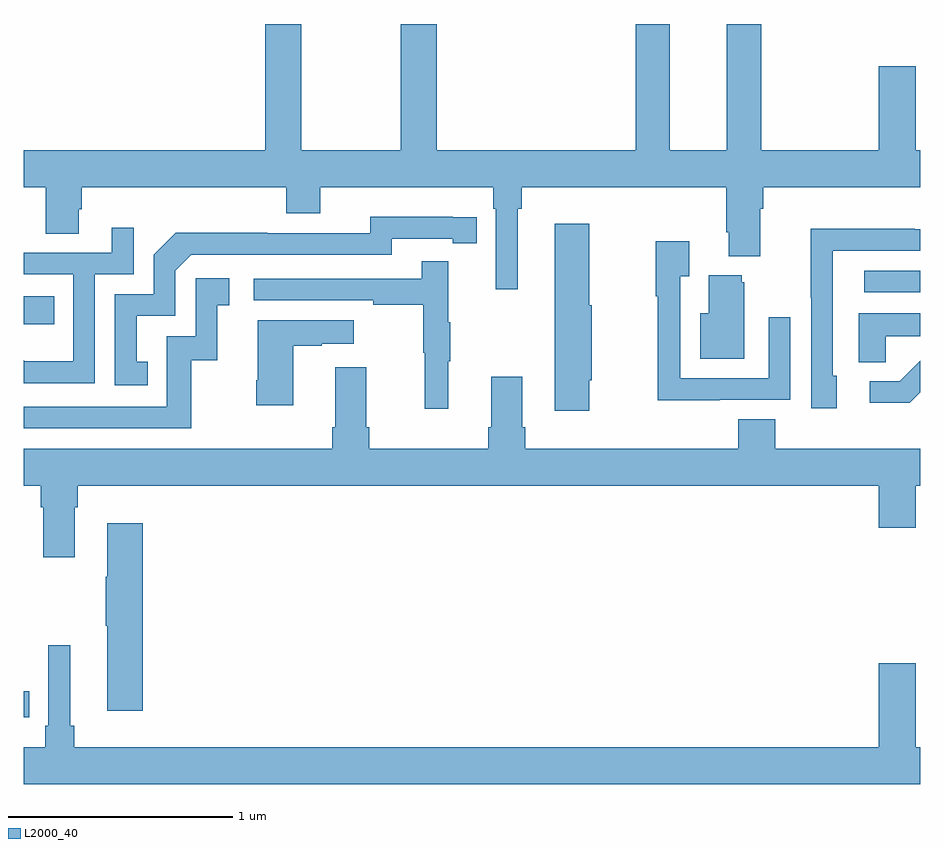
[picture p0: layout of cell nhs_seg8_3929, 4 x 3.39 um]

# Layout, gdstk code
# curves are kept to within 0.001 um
import gdstk
lib = gdstk.Library(unit=1e-6, precision=1e-09)
def R(c, l, rs):  # rectangles x0, y0, x1, y1
    for r in rs: c.add(gdstk.rectangle(r[:2], r[2:], *l))
def P(c, l, *ps):  # polygons
    for p in ps: c.add(gdstk.Polygon(p, *l))
L2000_40 = (2000, 40)

nhs_seg8_3929 = lib.new_cell('nhs_seg8_3929')
R(nhs_seg8_3929, L2000_40, [(353,1108.806,353.024,1108.922), (353,1110.561,353.135,1110.684), (356.751,1110.702,357,1110.798)])
P(nhs_seg8_3929, L2000_40, [(354.237,1111.9),(354.077,1111.9),(354.077,1111.336),(353,1111.336),(353,1111.172),(353.098,1111.172),(353.098,1110.964),(353.245,1110.964),(353.245,1111.074),(353.258,1111.074),(353.258,1111.172),(354.17,1111.172),(354.17,1111.055),(354.322,1111.055),(354.322,1111.172),(355.094,1111.172),(355.094,1111.076),(355.107,1111.076),(355.107,1110.717),(355.204,1110.717),(355.204,1111.076),(355.223,1111.076),(355.223,1111.172),(356.135,1111.172),(356.135,1110.97),(356.147,1110.97),(356.147,1110.863),(356.287,1110.863),(356.287,1111.076),(356.3,1111.076),(356.3,1111.172),(357,1111.172),(357,1111.336),(356.98,1111.336),(356.98,1111.711),(356.816,1111.711),(356.816,1111.336),(356.291,1111.336),(356.291,1111.9),(356.138,1111.9),(356.138,1111.336),(355.882,1111.336),(355.882,1111.9),(355.73,1111.9),(355.73,1111.336),(354.842,1111.336),(354.842,1111.9),(354.682,1111.9),(354.682,1111.336),(354.237,1111.336)],
  [(353.552,1110.393),(353.503,1110.393),(353.503,1110.597),(353.676,1110.597),(353.676,1110.798),(353.748,1110.87),(354.642,1110.87),(354.642,1110.942),(354.914,1110.942),(354.914,1110.922),(355.022,1110.922),(355.022,1111.038),(354.546,1111.039),(354.546,1110.966),(354.086,1110.966),(354.086,1110.968),(353.678,1110.968),(353.58,1110.87),(353.58,1110.693),(353.406,1110.693),(353.406,1110.288),(353.552,1110.288)],
  [(355.524,1110.309),(355.534,1110.309),(355.534,1110.645),(355.524,1110.645),(355.524,1111.009),(355.37,1111.009),(355.37,1110.174),(355.524,1110.174)],
  [(353.316,1110.783),(353.49,1110.783),(353.49,1110.991),(353.393,1110.991),(353.393,1110.879),(353,1110.879),(353,1110.783),(353.22,1110.783),(353.22,1110.394),(353.006,1110.394),(353,1110.4),(353,1110.297),(353.316,1110.297)],
  [(356.629,1110.33),(356.61,1110.33),(356.61,1110.888),(357,1110.888),(357,1110.984),(356.975,1110.984),(356.975,1110.986),(356.512,1110.986),(356.512,1110.679),(356.514,1110.679),(356.514,1110.186),(356.629,1110.186)],
  [(356.105,1110.222),(356.421,1110.222),(356.421,1110.592),(356.325,1110.592),(356.325,1110.318),(355.929,1110.318),(355.929,1110.775),(355.969,1110.775),(355.969,1110.931),(355.821,1110.931),(355.821,1110.686),(355.828,1110.686),(355.828,1110.221),(356.105,1110.221)],
  [(354.893,1110.395),(354.904,1110.395),(354.904,1110.569),(354.893,1110.569),(354.893,1110.841),(354.775,1110.841),(354.775,1110.762),(354.027,1110.762),(354.027,1110.666),(354.559,1110.666),(354.559,1110.646),(354.783,1110.646),(354.783,1110.432),(354.79,1110.432),(354.79,1110.183),(354.893,1110.183)],
  [(356.215,1110.747),(356.204,1110.747),(356.204,1110.778),(356.057,1110.778),(356.057,1110.61),(356.018,1110.61),(356.018,1110.407),(356.215,1110.407)],
  [(353.746,1110.399),(353.864,1110.399),(353.864,1110.645),(353.917,1110.645),(353.917,1110.766),(353.766,1110.766),(353.766,1110.507),(353.637,1110.507),(353.637,1110.192),(353,1110.192),(353,1110.096),(353.746,1110.096)],
  [(356.847,1110.506),(357,1110.506),(357,1110.61),(356.726,1110.61),(356.726,1110.391),(356.847,1110.391)],
  [(354.202,1110.463),(354.329,1110.463),(354.329,1110.473),(354.472,1110.473),(354.472,1110.577),(354.044,1110.577),(354.044,1110.31),(354.037,1110.31),(354.037,1110.198),(354.202,1110.198)],
  [(357,1110.256),(357,1110.397),(356.909,1110.306),(356.775,1110.306),(356.775,1110.209),(356.953,1110.209)],
  [(353.227,1109.744),(353.24,1109.744),(353.24,1109.84),(356.816,1109.84),(356.816,1109.652),(356.98,1109.652),(356.98,1109.84),(357,1109.84),(357,1110.004),(356.354,1110.004),(356.354,1110.137),(356.189,1110.137),(356.189,1110.004),(355.238,1110.004),(355.238,1110.1),(355.225,1110.1),(355.225,1110.325),(355.085,1110.325),(355.085,1110.1),(355.073,1110.1),(355.073,1110.004),(354.542,1110.004),(354.542,1110.1),(354.529,1110.1),(354.529,1110.367),(354.389,1110.367),(354.389,1110.1),(354.377,1110.1),(354.377,1110.004),(353,1110.004),(353,1109.84),(353.075,1109.84),(353.075,1109.744),(353.087,1109.744),(353.087,1109.52),(353.227,1109.52)],
  [(353.531,1109.671),(353.372,1109.671),(353.372,1109.432),(353.365,1109.432),(353.365,1109.215),(353.372,1109.215),(353.372,1108.836),(353.531,1108.836)],
  [(357,1108.672),(356.98,1108.672),(356.98,1109.047),(356.816,1109.047),(356.816,1108.672),(353.225,1108.672),(353.225,1108.768),(353.206,1108.768),(353.206,1109.128),(353.109,1109.128),(353.109,1108.768),(353.096,1108.768),(353.096,1108.672),(353,1108.672),(353,1108.508),(357,1108.508)])

lib.write_gds('nhs_seg8_3929.gds')
